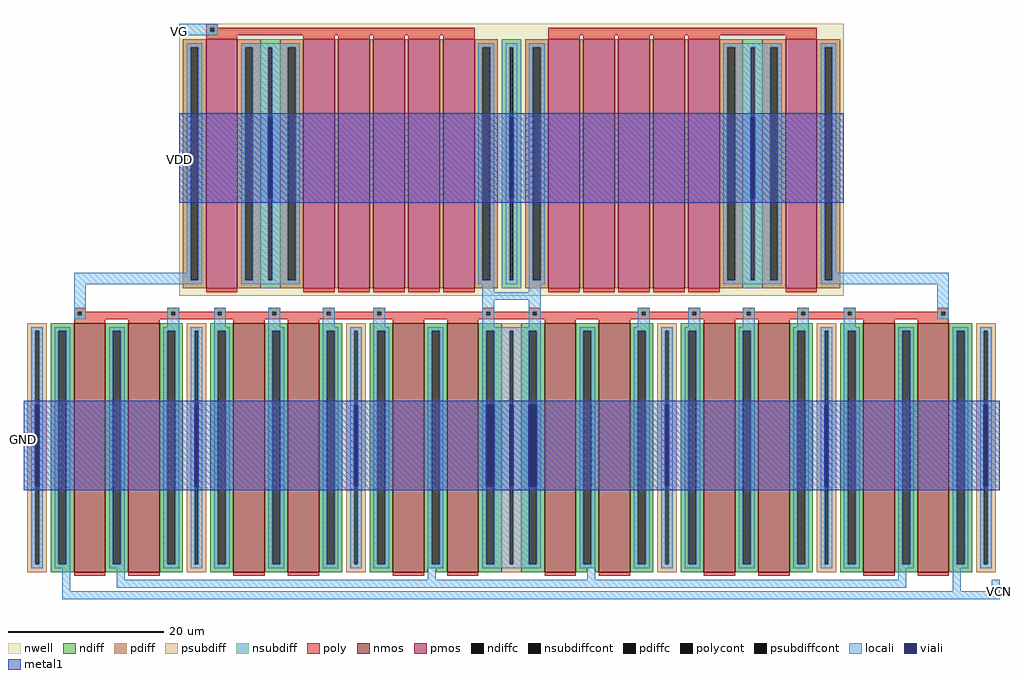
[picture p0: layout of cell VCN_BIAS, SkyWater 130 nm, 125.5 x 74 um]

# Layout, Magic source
magic
tech sky130A
<< nwell >>
rect 2600 -2150 11150 1350
<< nmos >>
rect 1250 -5700 1650 -2500
rect 1950 -5700 2350 -2500
rect 3300 -5700 3700 -2500
rect 4000 -5700 4400 -2500
rect 5350 -5700 5750 -2500
rect 6050 -5700 6450 -2500
rect 7300 -5700 7700 -2500
rect 8000 -5700 8400 -2500
rect 9350 -5700 9750 -2500
rect 10050 -5700 10450 -2500
rect 11400 -5700 11800 -2500
rect 12100 -5700 12500 -2500
<< pmos >>
rect 2950 -2050 3350 1150
rect 4200 -2050 4600 1150
rect 4650 -2050 5050 1150
rect 5100 -2050 5500 1150
rect 5550 -2050 5950 1150
rect 6000 -2050 6400 1150
rect 7350 -2050 7750 1150
rect 7800 -2050 8200 1150
rect 8250 -2050 8650 1150
rect 8700 -2050 9100 1150
rect 9150 -2050 9550 1150
rect 10400 -2050 10800 1150
<< ndiff >>
rect 950 -2600 1250 -2500
rect 950 -5600 1050 -2600
rect 1150 -5600 1250 -2600
rect 950 -5700 1250 -5600
rect 1650 -2600 1950 -2500
rect 1650 -5600 1750 -2600
rect 1850 -5600 1950 -2600
rect 1650 -5700 1950 -5600
rect 2350 -2600 2650 -2500
rect 2350 -5600 2450 -2600
rect 2550 -5600 2650 -2600
rect 2350 -5700 2650 -5600
rect 3000 -2600 3300 -2500
rect 3000 -5600 3100 -2600
rect 3200 -5600 3300 -2600
rect 3000 -5700 3300 -5600
rect 3700 -2600 4000 -2500
rect 3700 -5600 3800 -2600
rect 3900 -5600 4000 -2600
rect 3700 -5700 4000 -5600
rect 4400 -2600 4700 -2500
rect 4400 -5600 4500 -2600
rect 4600 -5600 4700 -2600
rect 4400 -5700 4700 -5600
rect 5050 -2600 5350 -2500
rect 5050 -5600 5150 -2600
rect 5250 -5600 5350 -2600
rect 5050 -5700 5350 -5600
rect 5750 -2600 6050 -2500
rect 5750 -5600 5850 -2600
rect 5950 -5600 6050 -2600
rect 5750 -5650 6050 -5600
rect 5750 -5700 5800 -5650
rect 5900 -5700 6050 -5650
rect 6450 -2600 6750 -2500
rect 7000 -2600 7300 -2500
rect 6450 -5600 6550 -2600
rect 6650 -5600 6750 -2600
rect 7000 -5600 7100 -2600
rect 7200 -5600 7300 -2600
rect 6450 -5700 6750 -5600
rect 7000 -5700 7300 -5600
rect 7700 -2600 8000 -2500
rect 7700 -5600 7800 -2600
rect 7900 -5600 8000 -2600
rect 7700 -5650 8000 -5600
rect 7700 -5700 7850 -5650
rect 7950 -5700 8000 -5650
rect 8400 -2600 8700 -2500
rect 8400 -5600 8500 -2600
rect 8600 -5600 8700 -2600
rect 8400 -5700 8700 -5600
rect 9050 -2600 9350 -2500
rect 9050 -5600 9150 -2600
rect 9250 -5600 9350 -2600
rect 9050 -5700 9350 -5600
rect 9750 -2600 10050 -2500
rect 9750 -5600 9850 -2600
rect 9950 -5600 10050 -2600
rect 9750 -5700 10050 -5600
rect 10450 -2600 10750 -2500
rect 10450 -5600 10550 -2600
rect 10650 -5600 10750 -2600
rect 10450 -5700 10750 -5600
rect 11100 -2600 11400 -2500
rect 11100 -5600 11200 -2600
rect 11300 -5600 11400 -2600
rect 11100 -5700 11400 -5600
rect 11800 -2600 12100 -2500
rect 11800 -5600 11900 -2600
rect 12000 -5600 12100 -2600
rect 11800 -5700 12100 -5600
rect 12500 -2600 12800 -2500
rect 12500 -5600 12600 -2600
rect 12700 -5600 12800 -2600
rect 12500 -5700 12800 -5600
<< pdiff >>
rect 2650 1050 2950 1150
rect 2650 -1950 2750 1050
rect 2850 -1950 2950 1050
rect 2650 -2050 2950 -1950
rect 3350 1050 3650 1150
rect 3900 1050 4200 1150
rect 3350 -1950 3450 1050
rect 3550 -1950 3650 1050
rect 3900 -1950 4000 1050
rect 4100 -1950 4200 1050
rect 3350 -2050 3650 -1950
rect 3900 -2050 4200 -1950
rect 4600 -2050 4650 1150
rect 5050 -2050 5100 1150
rect 5500 -2050 5550 1150
rect 5950 -2050 6000 1150
rect 6400 1050 6700 1150
rect 6400 -1950 6500 1050
rect 6600 -1950 6700 1050
rect 6400 -2050 6700 -1950
rect 7050 1050 7350 1150
rect 7050 -1950 7150 1050
rect 7250 -1950 7350 1050
rect 7050 -2050 7350 -1950
rect 7750 -2050 7800 1150
rect 8200 -2050 8250 1150
rect 8650 -2050 8700 1150
rect 9100 -2050 9150 1150
rect 9550 1050 9850 1150
rect 10100 1050 10400 1150
rect 9550 -1950 9650 1050
rect 9750 -1950 9850 1050
rect 10100 -1950 10200 1050
rect 10300 -1950 10400 1050
rect 9550 -2050 9850 -1950
rect 10100 -2050 10400 -1950
rect 10800 1050 11100 1150
rect 10800 -1950 10900 1050
rect 11000 -1950 11100 1050
rect 10800 -2050 11100 -1950
<< ndiffc >>
rect 1050 -5600 1150 -2600
rect 1750 -5600 1850 -2600
rect 2450 -5600 2550 -2600
rect 3100 -5600 3200 -2600
rect 3800 -5600 3900 -2600
rect 4500 -5600 4600 -2600
rect 5150 -5600 5250 -2600
rect 5850 -5600 5950 -2600
rect 6550 -5600 6650 -2600
rect 7100 -5600 7200 -2600
rect 7800 -5600 7900 -2600
rect 8500 -5600 8600 -2600
rect 9150 -5600 9250 -2600
rect 9850 -5600 9950 -2600
rect 10550 -5600 10650 -2600
rect 11200 -5600 11300 -2600
rect 11900 -5600 12000 -2600
rect 12600 -5600 12700 -2600
<< pdiffc >>
rect 2750 -1950 2850 1050
rect 3450 -1950 3550 1050
rect 4000 -1950 4100 1050
rect 6500 -1950 6600 1050
rect 7150 -1950 7250 1050
rect 9650 -1950 9750 1050
rect 10200 -1950 10300 1050
rect 10900 -1950 11000 1050
<< psubdiff >>
rect 650 -2600 900 -2500
rect 650 -5600 750 -2600
rect 800 -5600 900 -2600
rect 650 -5700 900 -5600
rect 2700 -2600 2950 -2500
rect 2700 -5600 2800 -2600
rect 2850 -5600 2950 -2600
rect 2700 -5700 2950 -5600
rect 4750 -2600 5000 -2500
rect 4750 -5600 4850 -2600
rect 4900 -5600 5000 -2600
rect 4750 -5700 5000 -5600
rect 6750 -2600 7000 -2500
rect 6750 -5600 6850 -2600
rect 6900 -5600 7000 -2600
rect 6750 -5700 7000 -5600
rect 8750 -2600 9000 -2500
rect 8750 -5600 8850 -2600
rect 8900 -5600 9000 -2600
rect 8750 -5700 9000 -5600
rect 10800 -2600 11050 -2500
rect 10800 -5600 10900 -2600
rect 10950 -5600 11050 -2600
rect 10800 -5700 11050 -5600
rect 12850 -2600 13100 -2500
rect 12850 -5600 12950 -2600
rect 13000 -5600 13100 -2600
rect 12850 -5700 13100 -5600
<< nsubdiff >>
rect 3650 1050 3900 1150
rect 3650 -1950 3750 1050
rect 3800 -1950 3900 1050
rect 3650 -2050 3900 -1950
rect 6750 1050 7000 1150
rect 6750 -1950 6850 1050
rect 6900 -1950 7000 1050
rect 6750 -2050 7000 -1950
rect 9850 1050 10100 1150
rect 9850 -1950 9950 1050
rect 10000 -1950 10100 1050
rect 9850 -2050 10100 -1950
<< psubdiffcont >>
rect 750 -5600 800 -2600
rect 2800 -5600 2850 -2600
rect 4850 -5600 4900 -2600
rect 6850 -5600 6900 -2600
rect 8850 -5600 8900 -2600
rect 10900 -5600 10950 -2600
rect 12950 -5600 13000 -2600
<< nsubdiffcont >>
rect 3750 -1950 3800 1050
rect 6850 -1950 6900 1050
rect 9950 -1950 10000 1050
<< poly >>
rect 2950 1300 3100 1350
rect 2950 1250 3000 1300
rect 3050 1250 6400 1300
rect 2950 1200 6400 1250
rect 2950 1150 3350 1200
rect 4200 1150 4600 1200
rect 4650 1150 5050 1200
rect 5100 1150 5500 1200
rect 5550 1150 5950 1200
rect 6000 1150 6400 1200
rect 7350 1200 10800 1300
rect 7350 1150 7750 1200
rect 7800 1150 8200 1200
rect 8250 1150 8650 1200
rect 8700 1150 9100 1200
rect 9150 1150 9550 1200
rect 10400 1150 10800 1200
rect 2950 -2100 3350 -2050
rect 4200 -2100 4600 -2050
rect 4650 -2100 5050 -2050
rect 5100 -2100 5500 -2050
rect 5550 -2100 5950 -2050
rect 6000 -2100 6400 -2050
rect 7350 -2100 7750 -2050
rect 7800 -2100 8200 -2050
rect 8250 -2100 8650 -2050
rect 8700 -2100 9100 -2050
rect 9150 -2100 9550 -2050
rect 10400 -2100 10800 -2050
rect 1250 -2350 1400 -2300
rect 2450 -2350 2600 -2300
rect 3050 -2350 3200 -2300
rect 3750 -2350 3900 -2300
rect 4450 -2350 4600 -2300
rect 5100 -2350 5250 -2300
rect 6500 -2350 6650 -2300
rect 7100 -2350 7250 -2300
rect 8500 -2350 8650 -2300
rect 9150 -2350 9300 -2300
rect 9850 -2350 10000 -2300
rect 10550 -2350 10700 -2300
rect 11150 -2350 11300 -2300
rect 12350 -2350 12500 -2300
rect 1250 -2400 1300 -2350
rect 1350 -2400 2500 -2350
rect 2550 -2400 3100 -2350
rect 3150 -2400 3800 -2350
rect 3850 -2400 4500 -2350
rect 4550 -2400 5150 -2350
rect 5200 -2400 6550 -2350
rect 6600 -2400 7150 -2350
rect 7200 -2400 8550 -2350
rect 8600 -2400 9200 -2350
rect 9250 -2400 9900 -2350
rect 9950 -2400 10600 -2350
rect 10650 -2400 11200 -2350
rect 11250 -2400 12400 -2350
rect 12450 -2400 12500 -2350
rect 1250 -2450 12500 -2400
rect 1250 -2500 1650 -2450
rect 1950 -2500 2350 -2450
rect 3300 -2500 3700 -2450
rect 4000 -2500 4400 -2450
rect 5350 -2500 5750 -2450
rect 6050 -2500 6450 -2450
rect 7300 -2500 7700 -2450
rect 8000 -2500 8400 -2450
rect 9350 -2500 9750 -2450
rect 10050 -2500 10450 -2450
rect 11400 -2500 11800 -2450
rect 12100 -2500 12500 -2450
rect 1250 -5750 1650 -5700
rect 1950 -5750 2350 -5700
rect 3300 -5750 3700 -5700
rect 4000 -5750 4400 -5700
rect 5350 -5750 5750 -5700
rect 6050 -5750 6450 -5700
rect 7300 -5750 7700 -5700
rect 8000 -5750 8400 -5700
rect 9350 -5750 9750 -5700
rect 10050 -5750 10450 -5700
rect 11400 -5750 11800 -5700
rect 12100 -5750 12500 -5700
<< polycont >>
rect 3000 1250 3050 1300
rect 1300 -2400 1350 -2350
rect 2500 -2400 2550 -2350
rect 3100 -2400 3150 -2350
rect 3800 -2400 3850 -2350
rect 4500 -2400 4550 -2350
rect 5150 -2400 5200 -2350
rect 6550 -2400 6600 -2350
rect 7150 -2400 7200 -2350
rect 8550 -2400 8600 -2350
rect 9200 -2400 9250 -2350
rect 9900 -2400 9950 -2350
rect 10600 -2400 10650 -2350
rect 11200 -2400 11250 -2350
rect 12400 -2400 12450 -2350
<< locali >>
rect 2600 1300 3100 1350
rect 2600 1250 3000 1300
rect 3050 1250 3100 1300
rect 2600 1200 3100 1250
rect 2700 1050 2900 1100
rect 2700 -1850 2750 1050
rect 1250 -1950 2750 -1850
rect 2850 -1950 2900 1050
rect 1250 -2000 2900 -1950
rect 3400 1050 4150 1100
rect 3400 -1950 3450 1050
rect 3550 -1950 3750 1050
rect 3800 -1950 4000 1050
rect 4100 -1950 4150 1050
rect 3400 -2000 4150 -1950
rect 6450 1050 6650 1100
rect 6450 -1950 6500 1050
rect 6600 -1950 6650 1050
rect 6450 -2000 6650 -1950
rect 6800 1050 6950 1100
rect 6800 -1950 6850 1050
rect 6900 -1950 6950 1050
rect 6800 -2000 6950 -1950
rect 7100 1050 7300 1100
rect 7100 -1950 7150 1050
rect 7250 -1950 7300 1050
rect 7100 -2000 7300 -1950
rect 9600 1050 10350 1100
rect 9600 -1950 9650 1050
rect 9750 -1950 9950 1050
rect 10000 -1950 10200 1050
rect 10300 -1950 10350 1050
rect 9600 -2000 10350 -1950
rect 10850 1050 11050 1100
rect 10850 -1950 10900 1050
rect 11000 -1850 11050 1050
rect 11000 -1950 12500 -1850
rect 10850 -2000 12500 -1950
rect 1250 -2350 1400 -2000
rect 6500 -2100 6650 -2000
rect 7100 -2100 7250 -2000
rect 6500 -2200 7250 -2100
rect 1250 -2400 1300 -2350
rect 1350 -2400 1400 -2350
rect 1250 -2450 1400 -2400
rect 2450 -2350 2600 -2300
rect 2450 -2400 2500 -2350
rect 2550 -2400 2600 -2350
rect 2450 -2550 2600 -2400
rect 3050 -2350 3200 -2300
rect 3050 -2400 3100 -2350
rect 3150 -2400 3200 -2350
rect 3050 -2550 3200 -2400
rect 3750 -2350 3900 -2300
rect 3750 -2400 3800 -2350
rect 3850 -2400 3900 -2350
rect 3750 -2550 3900 -2400
rect 4450 -2350 4600 -2300
rect 4450 -2400 4500 -2350
rect 4550 -2400 4600 -2350
rect 4450 -2550 4600 -2400
rect 5100 -2350 5250 -2300
rect 5100 -2400 5150 -2350
rect 5200 -2400 5250 -2350
rect 5100 -2550 5250 -2400
rect 6500 -2350 6650 -2200
rect 6500 -2400 6550 -2350
rect 6600 -2400 6650 -2350
rect 6500 -2550 6650 -2400
rect 7100 -2350 7250 -2200
rect 7100 -2400 7150 -2350
rect 7200 -2400 7250 -2350
rect 7100 -2550 7250 -2400
rect 8500 -2350 8650 -2300
rect 8500 -2400 8550 -2350
rect 8600 -2400 8650 -2350
rect 8500 -2550 8650 -2400
rect 9150 -2350 9300 -2300
rect 9150 -2400 9200 -2350
rect 9250 -2400 9300 -2350
rect 9150 -2550 9300 -2400
rect 9850 -2350 10000 -2300
rect 9850 -2400 9900 -2350
rect 9950 -2400 10000 -2350
rect 9850 -2550 10000 -2400
rect 10550 -2350 10700 -2300
rect 10550 -2400 10600 -2350
rect 10650 -2400 10700 -2350
rect 10550 -2550 10700 -2400
rect 11150 -2350 11300 -2300
rect 11150 -2400 11200 -2350
rect 11250 -2400 11300 -2350
rect 11150 -2550 11300 -2400
rect 12350 -2350 12500 -2000
rect 12350 -2400 12400 -2350
rect 12450 -2400 12500 -2350
rect 12350 -2450 12500 -2400
rect 700 -2600 850 -2550
rect 700 -5600 750 -2600
rect 800 -5600 850 -2600
rect 700 -5650 850 -5600
rect 1000 -2600 1200 -2550
rect 1000 -5600 1050 -2600
rect 1150 -5600 1200 -2600
rect 1000 -5650 1200 -5600
rect 1700 -2600 1900 -2550
rect 1700 -5600 1750 -2600
rect 1850 -5600 1900 -2600
rect 1700 -5650 1900 -5600
rect 2400 -2600 2600 -2550
rect 2400 -5600 2450 -2600
rect 2550 -5600 2600 -2600
rect 2400 -5650 2600 -5600
rect 2750 -2600 2900 -2550
rect 2750 -5600 2800 -2600
rect 2850 -5600 2900 -2600
rect 2750 -5650 2900 -5600
rect 3050 -2600 3250 -2550
rect 3050 -5600 3100 -2600
rect 3200 -5600 3250 -2600
rect 3050 -5650 3250 -5600
rect 3750 -2600 3950 -2550
rect 3750 -5600 3800 -2600
rect 3900 -5600 3950 -2600
rect 3750 -5650 3950 -5600
rect 4450 -2600 4650 -2550
rect 4450 -5600 4500 -2600
rect 4600 -5600 4650 -2600
rect 4450 -5650 4650 -5600
rect 4800 -2600 4950 -2550
rect 4800 -5600 4850 -2600
rect 4900 -5600 4950 -2600
rect 4800 -5650 4950 -5600
rect 5100 -2600 5300 -2550
rect 5100 -5600 5150 -2600
rect 5250 -5600 5300 -2600
rect 5100 -5650 5300 -5600
rect 5800 -2600 6000 -2550
rect 5800 -5600 5850 -2600
rect 5950 -5600 6000 -2600
rect 5800 -5650 6000 -5600
rect 6500 -2600 7250 -2550
rect 6500 -5600 6550 -2600
rect 6650 -5600 6850 -2600
rect 6900 -5600 7100 -2600
rect 7200 -5600 7250 -2600
rect 6500 -5650 7250 -5600
rect 7750 -2600 7950 -2550
rect 7750 -5600 7800 -2600
rect 7900 -5600 7950 -2600
rect 7750 -5650 7950 -5600
rect 8450 -2600 8650 -2550
rect 8450 -5600 8500 -2600
rect 8600 -5600 8650 -2600
rect 8450 -5650 8650 -5600
rect 8800 -2600 8950 -2550
rect 8800 -5600 8850 -2600
rect 8900 -5600 8950 -2600
rect 8800 -5650 8950 -5600
rect 9100 -2600 9300 -2550
rect 9100 -5600 9150 -2600
rect 9250 -5600 9300 -2600
rect 9100 -5650 9300 -5600
rect 9800 -2600 10000 -2550
rect 9800 -5600 9850 -2600
rect 9950 -5600 10000 -2600
rect 9800 -5650 10000 -5600
rect 10500 -2600 10700 -2550
rect 10500 -5600 10550 -2600
rect 10650 -5600 10700 -2600
rect 10500 -5650 10700 -5600
rect 10850 -2600 11000 -2550
rect 10850 -5600 10900 -2600
rect 10950 -5600 11000 -2600
rect 10850 -5650 11000 -5600
rect 11150 -2600 11350 -2550
rect 11150 -5600 11200 -2600
rect 11300 -5600 11350 -2600
rect 11150 -5650 11350 -5600
rect 11850 -2600 12050 -2550
rect 11850 -5600 11900 -2600
rect 12000 -5600 12050 -2600
rect 11850 -5650 12050 -5600
rect 12550 -2600 12750 -2550
rect 12550 -5600 12600 -2600
rect 12700 -5600 12750 -2600
rect 12550 -5650 12750 -5600
rect 12900 -2600 13050 -2550
rect 12900 -5600 12950 -2600
rect 13000 -5600 13050 -2600
rect 12900 -5650 13050 -5600
rect 1100 -5950 1200 -5650
rect 1800 -5800 1900 -5650
rect 5800 -5800 5900 -5650
rect 7850 -5800 7950 -5650
rect 11850 -5800 11950 -5650
rect 1800 -5900 11950 -5800
rect 12550 -5950 12650 -5650
rect 13050 -5950 13150 -5800
rect 1100 -6050 13150 -5950
<< viali >>
rect 3750 -900 3800 150
rect 6850 -900 6900 150
rect 9950 -900 10000 150
rect 750 -4600 800 -3550
rect 2800 -4600 2850 -3550
rect 4850 -4600 4900 -3550
rect 6550 -4600 6650 -3550
rect 6850 -4600 6900 -3550
rect 7100 -4600 7200 -3550
rect 8850 -4600 8900 -3550
rect 10900 -4600 10950 -3550
rect 12950 -4600 13000 -3550
<< metal1 >>
rect 2600 150 11150 200
rect 2600 -900 3750 150
rect 3800 -900 6850 150
rect 6900 -900 9950 150
rect 10000 -900 11150 150
rect 2600 -950 11150 -900
rect 600 -3550 13150 -3500
rect 600 -4600 750 -3550
rect 800 -4600 2800 -3550
rect 2850 -4600 4850 -3550
rect 4900 -4600 6550 -3550
rect 6650 -4600 6850 -3550
rect 6900 -4600 7100 -3550
rect 7200 -4600 8850 -3550
rect 8900 -4600 10900 -3550
rect 10950 -4600 12950 -3550
rect 13000 -4600 13150 -3550
rect 600 -4650 13150 -4600
<< labels >>
flabel locali 13150 -5950 13150 -5950 0 FreeSans 800 0 0 0 VCN
port 1 nsew
flabel metal1 600 -4000 600 -4000 0 FreeSans 800 0 0 0 GND
port 2 nsew
flabel metal1 2600 -400 2600 -400 0 FreeSans 800 0 0 0 VDD
port 3 nsew
flabel locali 2600 1250 2600 1250 0 FreeSans 800 0 0 0 VG
port 4 nsew
<< end >>
